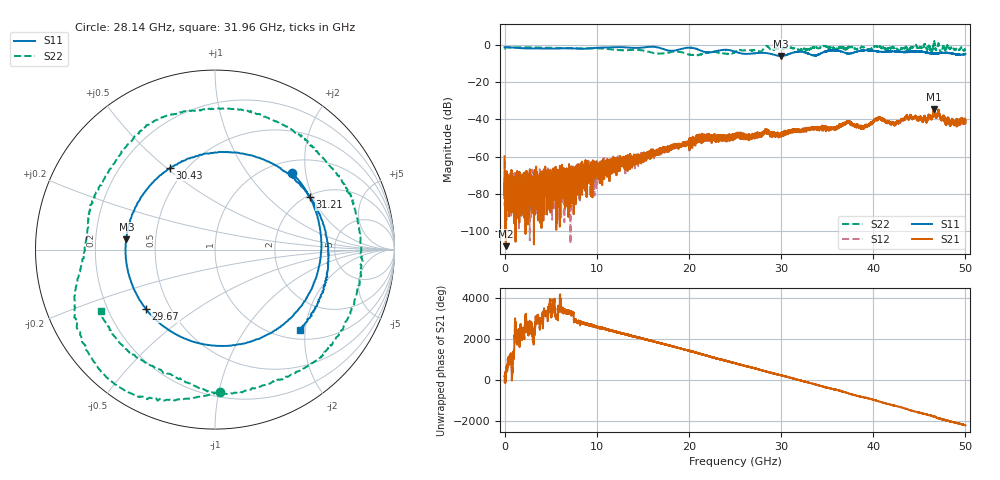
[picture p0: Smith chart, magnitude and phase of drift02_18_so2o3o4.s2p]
!Created with skrf (http://scikit-rf.org).
# Hz S RI R 50.0
!freq ReS11 ImS11 ReS21 ImS21 ReS12 ImS12 ReS22 ImS22
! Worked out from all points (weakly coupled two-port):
!   10001 points, 300 kHz to 50 GHz, reference 50 ohm
!   highest |S21| = -34.44 dB at 46.58 GHz (marker M1); lowest = -107.9 dB at 130.3 MHz (marker M2)
!   lowest |S11| = -6.1 dB at 30.02 GHz (marker M3), VSWR 2.97, Z = 16.9 + j2.55 ohm
!   |S11| at or under -10 dB: nowhere
!   |S22| runs from -5.7 to 2.3 dB; largest |S21 - S12| = 0.0035
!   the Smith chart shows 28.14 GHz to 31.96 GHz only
!   S11 on the Smith chart (normalised r, x): 28.14 GHz: 1.25, +1.69; 29.67 GHz: 0.37, -0.33; 30.43 GHz: 0.41, +0.52; 31.21 GHz: 2.07, +1.90; 31.96 GHz: 1.20, -1.88
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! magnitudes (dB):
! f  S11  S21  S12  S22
! 300 kHz  -1.3  -59.8  -62.3  -2.0
! 130.3 MHz  -1.3  -107.9  -78.5  -1.5
! 360.3 MHz  -1.4  -75.9  -80.8  -1.4
! 3.885 GHz  -2.0  -93.3  -67.5  -1.5
! 8.335 GHz  -2.2  -64.6  -71.9  -1.9
! 16.67 GHz  -1.5  -57.2  -57.7  -4.7
! 21.68 GHz  -3.9  -50.1  -50.2  -4.6
! 25 GHz  -3.7  -49.9  -48.9  -3.9
! 28.14 GHz  -4.4  -47.1  -47.3  -2.0
! 29.67 GHz  -5.9  -47.7  -49.1  -2.1
! 30.02 GHz  -6.1  -48.2  -47.9  -2.0
! 30.43 GHz  -5.7  -46.7  -47.4  -1.8
! 31.21 GHz  -4.4  -45.6  -46.6  -1.7
! 31.96 GHz  -3.7  -46.0  -46.8  -2.8
! 33.34 GHz  -5.5  -44.4  -44.8  -1.6
! 37.28 GHz  -4.7  -40.9  -41.7  -1.4
! 38.83 GHz  -3.1  -44.0  -44.6  -1.2
! 40.55 GHz  -3.6  -39.7  -39.5  -0.9
! 41.67 GHz  -3.6  -41.6  -41.2  -1.9
! 46.58 GHz  -4.7  -34.4  -34.7  1.9
! 48.12 GHz  -4.4  -40.2  -39.9  -0.6
! 50 GHz  -5.0  -42.2  -40.9  -2.6
